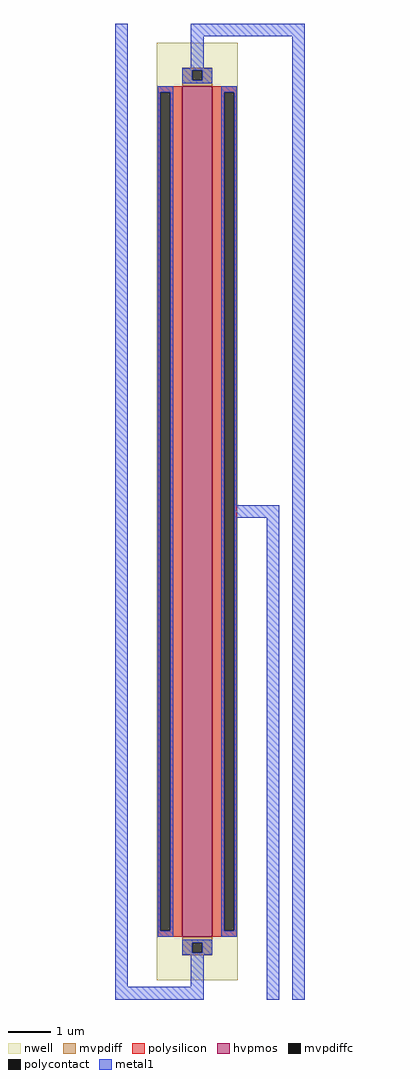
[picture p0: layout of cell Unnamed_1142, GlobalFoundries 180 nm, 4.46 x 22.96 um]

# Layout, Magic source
magic
tech gf180mcuD
magscale 1 10
<< nwell >>
rect -260 -192 120 4220
<< hvpmos >>
rect -140 14 0 4014
<< mvpdiff >>
rect -140 4089 0 4102
rect -140 4043 -93 4089
rect -47 4043 0 4089
rect -140 4014 0 4043
rect -140 -15 0 14
rect -140 -61 -93 -15
rect -47 -61 0 -15
rect -140 -74 0 -61
<< mvpdiffc >>
rect -93 4043 -47 4089
rect -93 -61 -47 -15
<< polysilicon >>
rect -256 3987 -140 4014
rect -256 41 -243 3987
rect -197 41 -140 3987
rect -256 14 -140 41
rect 0 3987 116 4014
rect 0 41 57 3987
rect 103 41 116 3987
rect 0 14 116 41
<< polycontact >>
rect -243 41 -197 3987
rect 57 41 103 3987
<< metal1 >>
rect -456 -222 -396 4310
rect -100 4250 436 4310
rect -100 4100 -40 4250
rect -140 4089 0 4100
rect -140 4043 -93 4089
rect -47 4043 0 4089
rect -140 4028 0 4043
rect -256 3987 -184 4014
rect -256 41 -243 3987
rect -197 41 -184 3987
rect -256 14 -184 41
rect 44 3987 116 4014
rect 44 41 57 3987
rect 103 2044 116 3987
rect 103 1984 316 2044
rect 103 41 116 1984
rect 44 14 116 41
rect -140 -15 0 0
rect -140 -61 -93 -15
rect -47 -61 0 -15
rect -140 -72 0 -61
rect -100 -222 -40 -72
rect -456 -282 -40 -222
rect 256 -282 316 1984
rect 376 -282 436 4250
<< end >>
